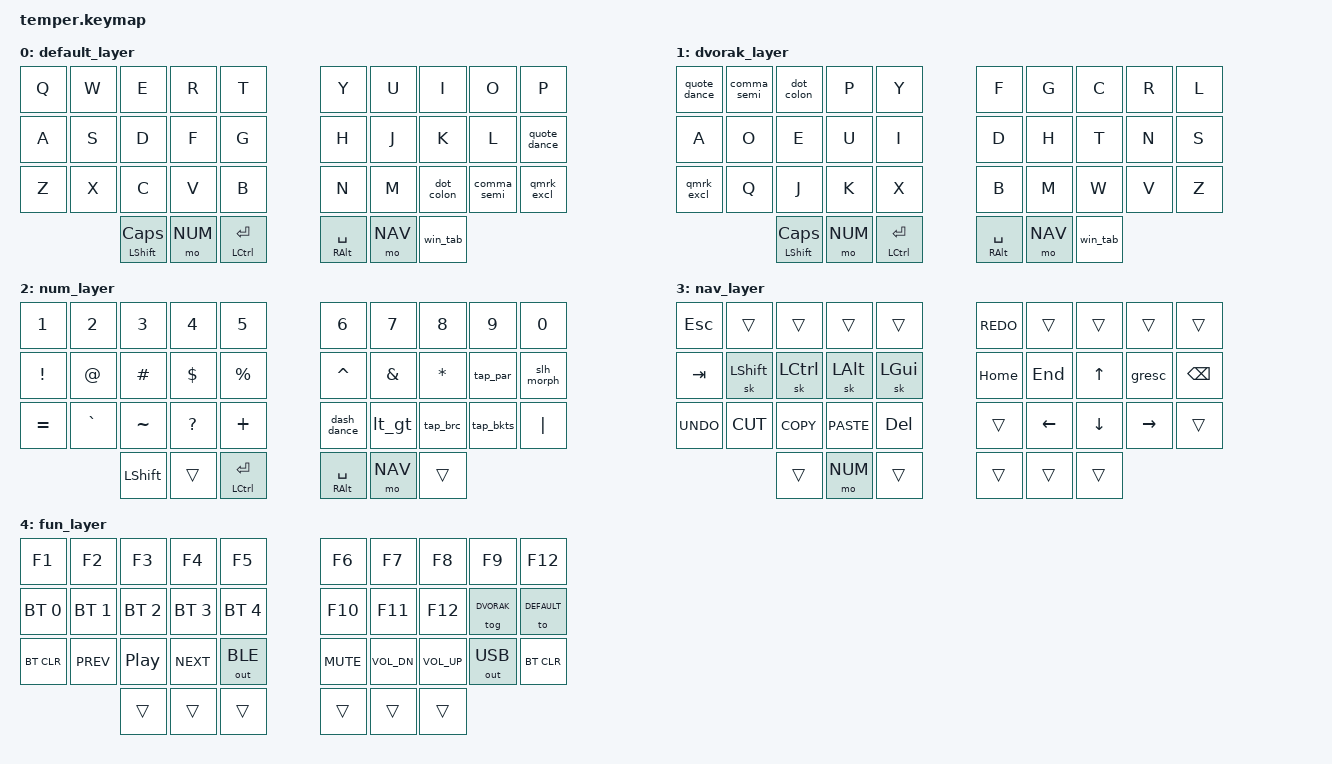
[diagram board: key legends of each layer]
 /*
 * Copyright (c) 2020 The ZMK Contributors
 *
 * SPDX-License-Identifier: MIT
 */

#include <behaviors.dtsi>
#include <dt-bindings/zmk/keys.h>
#include <dt-bindings/zmk/bt.h>
#include <dt-bindings/zmk/outputs.h>

#define DEFAULT 0
#define DVORAK 1
#define NUM 2
#define NAV 3
#define FUN 4

# define ______ &trans

/ {
    conditional_layers {
        compatible = "zmk,conditional-layers";
        tri_layer {
            if-layers = <NUM NAV>;
            then-layer = <FUN>;
        };
    };
    behaviors {
        bspc_del: backspace_delete {
            compatible = "zmk,behavior-mod-morph";
            #binding-cells = <0>;
            bindings = <&kp BACKSPACE>, <&kp DELETE>;
            mods = <(MOD_LSFT|MOD_RSFT)>;
            keep-mods = <(MOD_RSFT)>;
        };

        super_bspc: super_backspace {
            compatible = "zmk,behavior-mod-morph";
            #binding-cells = <0>;
            bindings = <&kp BACKSPACE>, <&kp LA(BACKSPACE)>;
            mods = <(MOD_LSFT|MOD_RSFT)>;
        };

        smart_shft: smart_shift {
            compatible = "zmk,behavior-mod-morph";
            #binding-cells = <0>;
            bindings = <&kp LSHFT>, <&caps_word>;
            mods = <(MOD_LSFT)>;
        };

        comma_semi: comma_semi {
            compatible = "zmk,behavior-tap-dance";
            #binding-cells = <0>;
            bindings =  <&kp DOT>, <&kp COLON>;
        };

        dot_colon: dot_colon {
            compatible = "zmk,behavior-tap-dance";
            #binding-cells = <0>;
            bindings = <&kp COMMA>, <&kp SEMI>;
        };

        qmrk_excl: qmrk_excl {
            compatible = "zmk,behavior-tap-dance";
            #binding-cells = <0>;
            bindings = <&kp QMARK>, <&kp EXCL>;
        };

        slh_morph: slh_morph {
            compatible = "zmk,behavior-tap-dance";
            #binding-cells = <0>;
            bindings = <&kp FSLH>, <&kp BSLH>;
        };

        amps_morph: amps_morph {
            compatible = "zmk,behavior-mod-morph";
            #binding-cells = <0>;
            bindings = <&kp AMPS>, <&kp PIPE>;
            mods = <(MOD_LSFT)>;
        };

        quote_dance: quote_tapdance {
           compatible = "zmk,behavior-tap-dance";
           #binding-cells = <0>;
           bindings = <&kp SQT>, <&kp DQT>;
        };

        dash_dance: dash_tapdance {
           compatible = "zmk,behavior-tap-dance";
           #binding-cells = <0>;
           bindings = <&kp MINUS>, <&kp UNDER>;
        };
      
        win_tab: win_or_tab {
           compatible = "zmk,behavior-tap-dance";
           #binding-cells = <0>;
           bindings = <&kp LGUI>, <&kp TAB>;
        };

        lt_gt: lt_or_gt {
           compatible = "zmk,behavior-tap-dance";
           #binding-cells = <0>;
           bindings = <&kp LT>, <&kp GT>;
        };

        tap_bkts: tap_bkts {
           compatible = "zmk,behavior-tap-dance";
           #binding-cells = <0>;
           bindings = <&kp LBKT>, <&kp RBKT>;
        }; 

        tap_par: tap_par {
           compatible = "zmk,behavior-tap-dance";
           #binding-cells = <0>;
           bindings = <&kp LPAR>, <&kp RPAR>;
        }; 
        tap_brc: tap_brc {
           compatible = "zmk,behavior-tap-dance";
           #binding-cells = <0>;
           bindings = <&kp LBRC>, <&kp RBRC>;
        }; 

    combos {
        compatible = "zmk,combos";

        open_paren_combo {
           timeout-ms = <30>; // tiempo entre presiones (opcional)
           key-positions = <6 7>; // posiciones físicas de las teclas U e I
           bindings = <&kp  LPAR>;  // "("
        };
        close_paren_combo {
           timeout-ms = <30>; // tiempo entre presiones (opcional)
           key-positions = <7 8>; // posiciones físicas de las teclas I e O
           bindings = <&kp  RPAR>;  // "("
        };
        open_lbkt_combo {
           timeout-ms = <30>; // tiempo entre presiones (opcional)
           key-positions = <16 17>; // posiciones físicas de las teclas J e K
           bindings = <&kp  LBKT>;  // "]"
        };
        close_lbkt_combo {
           timeout-ms = <30>; // tiempo entre presiones (opcional)
           key-positions = <17 18>; // posiciones físicas de las teclas semicolom e dot
           bindings = <&kp  RBKT>;  // "]"
        };
        OPEN_brc_combo {
           timeout-ms = <30>; // tiempo entre presiones (opcional)
           key-positions = <26 27>; // posiciones físicas de las teclas M e secolom
           bindings = <&kp  LBRC>;  // "{"
        };
        close_brc_combo {
           timeout-ms = <30>; // tiempo entre presiones (opcional)
           key-positions = <27 28>; // posiciones físicas de las teclas K e L
           bindings = <&kp  RBRC>;  // "}"
        };
        open_lt_combo {
           timeout-ms = <30>; // tiempo entre presiones (opcional)
           key-positions = <1 2>; // posiciones físicas de las teclas W e E
           bindings = <&kp  LT>;  // "<"
        };
        close_lt_combo {
           timeout-ms = <30>; // tiempo entre presiones (opcional)
           key-positions = <2 3>; // posiciones físicas de las teclas E e R
           bindings = <&kp  GT>;  // ">"
        };
        sum_combo {
           timeout-ms = <30>; // tiempo entre presiones (opcional)
           key-positions = <3 4>; // posiciones físicas de las teclas R e T
           bindings = <&kp  PLUS>;  // "+"
        };
        minus_combo {
           timeout-ms = <30>; // tiempo entre presiones (opcional)
           key-positions = <13 14>; // posiciones físicas de las teclas F e G
           bindings = <&kp  MINUS>;  // "-"
        };
        equal_combo {
           timeout-ms = <30>; // tiempo entre presiones (opcional)
           key-positions = <23 24>; // posiciones físicas de las teclas V e B
           bindings = <&kp  EQUAL>;  // "="
        };
        del_combo {
           timeout-ms = <30>; // tiempo entre presiones (opcional)
           key-positions = <8 9>; // posiciones físicas de las teclas P e QUOT
           bindings = <&kp  BSPC>;  // "BACKSPACE"
        };
        slash_combo {
           timeout-ms = <30>; // tiempo entre presiones (opcional)
           key-positions = <5 6>; // posiciones físicas de las teclas Y e U
           bindings = <&kp  FSLH>;  // "SLASH"
        };
        backslash_combo {
           timeout-ms = <30>; // tiempo entre presiones (opcional)
           key-positions = <15 16>; // posiciones físicas de las teclas H e J
           bindings = <&kp  BSLH>;  // "backslash"
        };

        pipe_combo {
           timeout-ms = <30>; // tiempo entre presiones (opcional)
           key-positions = <25 26>; // posiciones físicas de las teclas N e M
           bindings = <&kp  PIPE>;  // "backspace"
        };




      };



    };//final de todo
        keymap {
                compatible = "zmk,keymap";

                default_layer {
                        bindings = <
// ╭─────────────┬─────────────┬─────────────┬─────────────┬─────────────╮   ╭─────────────┬─────────────┬─────────────┬─────────────┬─────────────╮
        &kp Q         &kp W         &kp E         &kp R         &kp T             &kp Y         &kp U        &kp I         &kp O         &kp P   
// ├─────────────┼─────────────┼─────────────┼─────────────┼─────────────┤   ├─────────────┼─────────────┼─────────────┼─────────────┼─────────────┤
        &kp A         &kp S         &kp D         &kp F         &kp G             &kp H         &kp J        &kp K         &kp L       &quote_dance
// ├─────────────┼─────────────┼─────────────┼─────────────┼─────────────┤   ├─────────────┼─────────────┼─────────────┼─────────────┼─────────────┤
        &kp Z         &kp X         &kp C         &kp V         &kp B             &kp N         &kp M      &dot_colon   &comma_semi      &qmrk_excl
// ╰─────────────┴─────────────┼─────────────┼─────────────┼─────────────┤   ├─────────────┼─────────────┼─────────────┼─────────────┴─────────────╯
                            &mt LSHIFT CAPSLOCK  &mo NUM    &mt LCTL ENTER    &mt RALT SPACE    &mo NAV     &win_tab
//                             ╰─────────────┴─────────────┴─────────────╯   ╰─────────────┴─────────────┴─────────────╯
                        >;
                };
                dvorak_layer { 
                        bindings = <
// ╭─────────────┬─────────────┬─────────────┬─────────────┬─────────────╮   ╭─────────────┬─────────────┬─────────────┬─────────────┬─────────────╮
    &quote_dance   &comma_semi   &dot_colon       &kp P         &kp Y              &kp F       &kp G        &kp C        &kp R          &kp L  
// ├─────────────┼─────────────┼─────────────┼─────────────┼─────────────┤   ├─────────────┼─────────────┼─────────────┼─────────────┼─────────────┤
       &kp A         &kp O         &kp E         &kp U         &kp I              &kp D       &kp H        &kp T        &kp N          &kp S
// ├─────────────┼─────────────┼─────────────┼─────────────┼─────────────┤   ├─────────────┼─────────────┼─────────────┼─────────────┼─────────────┤
     &qmrk_excl      &kp Q         &kp J         &kp K         &kp X              &kp B       &kp M        &kp W        &kp V          &kp Z
// ╰─────────────┴─────────────┼─────────────┼─────────────┼─────────────┤   ├─────────────┼─────────────┼─────────────┼─────────────┴─────────────╯
                           &mt LSHIFT CAPSLOCK   &mo NUM    &mt LCTL ENTER    &mt RALT SPACE   &mo NAV     &win_tab
//                             ╰─────────────┴─────────────┴─────────────╯   ╰─────────────┴─────────────┴─────────────╯
                        >;
                };
                num_layer {
                        bindings = <
// ╭─────────────┬─────────────┬─────────────┬─────────────┬─────────────╮   ╭─────────────┬─────────────┬─────────────┬─────────────┬─────────────╮
      &kp N1        &kp N2        &kp N3        &kp N4        &kp N5           &kp N6          &kp N7        &kp N8       &kp N9       &kp N0
// ├─────────────┼─────────────┼─────────────┼─────────────┼─────────────┤   ├─────────────┼─────────────┼─────────────┼─────────────┼─────────────┤
      &kp EXCL      &kp AT        &kp HASH      &kp DLLR      &kp PRCNT        &kp CARET       &kp AMPS      &kp STAR     &tap_par     &slh_morph
// ├─────────────┼─────────────┼─────────────┼─────────────┼─────────────┤   ├─────────────┼─────────────┼─────────────┼─────────────┼─────────────┤
      &kp EQUAL     &kp GRAVE     &kp TILDE     &kp QMARK     &kp PLUS         &dash_dance     &lt_gt        &tap_brc     &tap_bkts     &kp PIPE
// ╰─────────────┴─────────────┼─────────────┼─────────────┼─────────────┤   ├─────────────┼─────────────┼─────────────┼─────────────┴─────────────╯
                                  &kp LSHIFT    ______      &mt LCTL ENTER    &mt RALT SPACE    &mo NAV     ______
//                             ╰─────────────┴─────────────┴─────────────╯   ╰─────────────┴─────────────┴─────────────╯
                        >;
                };

                nav_layer {
                        bindings = <
// ╭─────────────┬─────────────┬─────────────┬─────────────┬─────────────╮   ╭─────────────┬─────────────┬─────────────┬─────────────┬─────────────╮
       &kp ESC        ______        ______        ______        ______          &kp K_REDO     ______       ______        ______      ______
// ├─────────────┼─────────────┼─────────────┼─────────────┼─────────────┤   ├─────────────┼─────────────┼─────────────┼─────────────┼─────────────┤
      &kp TAB      &sk LSHFT      &sk LCTRL      &sk LALT       &sk LGUI         &kp HOME      &kp END         &kp UP        &gresc       &kp BSPC
// ├─────────────┼─────────────┼─────────────┼─────────────┼─────────────┤   ├─────────────┼─────────────┼─────────────┼─────────────┼─────────────┤
      &kp K_UNDO   &kp K_CUT      &kp K_COPY     &kp K_PASTE    &kp DEL          ______      &kp LEFT      &kp DOWN      &kp RIGHT        ______
// ╰─────────────┴─────────────┼─────────────┼─────────────┼─────────────┤   ├─────────────┼─────────────┼─────────────┼─────────────┴─────────────╯
                                    ______        &mo NUM        ______            ______        ______        ______
//                             ╰─────────────┴─────────────┴─────────────╯   ╰─────────────┴─────────────┴─────────────╯
                        >;
                };

                fun_layer {
                        bindings = <
// ╭─────────────┬─────────────┬─────────────┬─────────────┬─────────────╮   ╭─────────────┬─────────────┬─────────────┬─────────────┬─────────────╮
     &kp F1         &kp F2        &kp F3       &kp F4        &kp F5               &kp F6       &kp F7        &kp F8        &kp F9       &kp F12
// ├─────────────┼─────────────┼─────────────┼─────────────┼─────────────┤   ├─────────────┼─────────────┼─────────────┼─────────────┼─────────────┤
     &bt BT_SEL 0  &bt BT_SEL 1  &bt BT_SEL 2  &bt BT_SEL 3  &bt BT_SEL 4         &kp F10      &kp F11       &kp F12     &tog DVORAK     &to DEFAULT
// ├─────────────┼─────────────┼─────────────┼─────────────┼─────────────┤   ├─────────────┼─────────────┼─────────────┼─────────────┼─────────────┤
      &bt BT_CLR    &kp C_PREV     &kp C_PP     &kp C_NEXT   &out OUT_BLE      &kp K_MUTE    &kp C_VOL_DN  &kp C_VOL_UP  &out OUT_USB  &bt BT_CLR
// ╰─────────────┴─────────────┼─────────────┼─────────────┼─────────────┤   ├─────────────┼─────────────┼─────────────┼─────────────┴─────────────╯
                                    ______        ______        ______            ______        ______        ______
//                             ╰─────────────┴─────────────┴─────────────╯   ╰─────────────┴─────────────┴─────────────╯
                        >;
                };
        };
};
